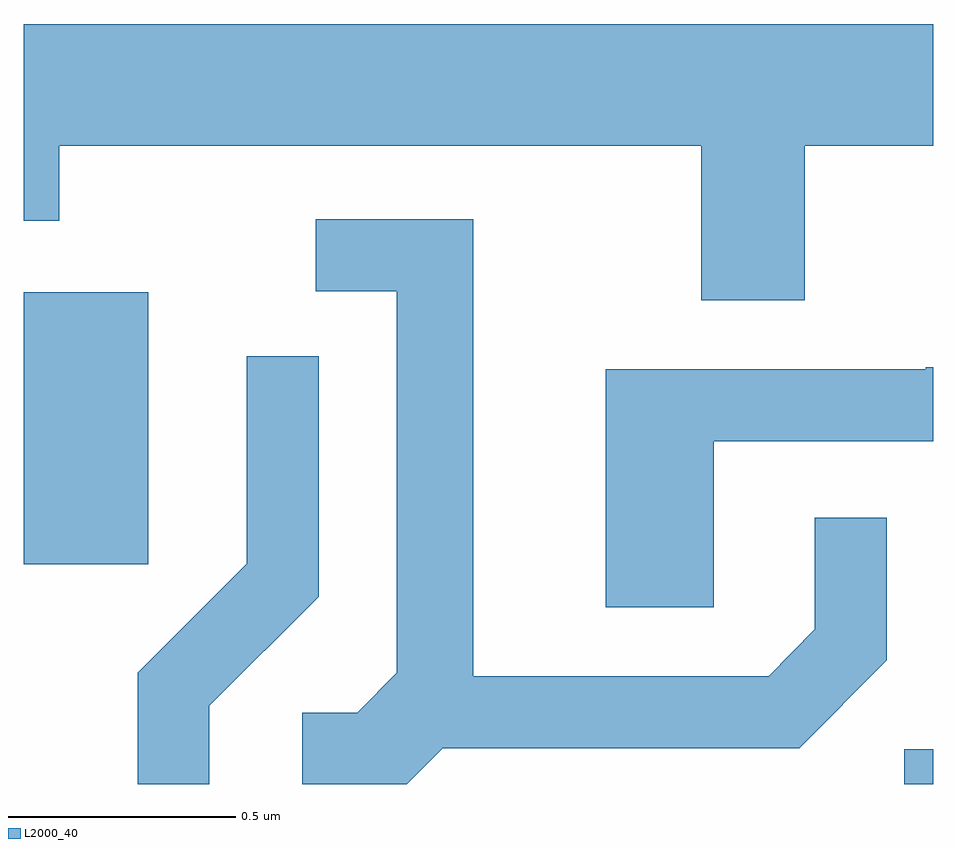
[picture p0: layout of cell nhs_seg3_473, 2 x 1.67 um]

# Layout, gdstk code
import gdstk
lib = gdstk.Library(unit=1e-6, precision=1e-09)
def R(c, l, rs):  # rectangles x0, y0, x1, y1
    for r in rs: c.add(gdstk.rectangle(r[:2], r[2:], *l))
def P(c, l, *ps):  # polygons
    for p in ps: c.add(gdstk.Polygon(p, *l))
L2000_40 = (2000, 40)

nhs_seg3_473 = lib.new_cell('nhs_seg3_473')
R(nhs_seg3_473, L2000_40, [(190.548,1177.892,190.611,1177.969), (188.611,1178.376,188.884,1178.974)])
P(nhs_seg3_473, L2000_40, [(190.329,1179.296),(190.611,1179.296),(190.611,1179.564),(188.611,1179.564),(188.611,1179.131),(188.689,1179.131),(188.689,1179.296),(190.101,1179.296),(190.101,1178.956),(190.329,1178.956)],
  [(189.532,1177.971),(190.317,1177.971),(190.509,1178.164),(190.509,1178.478),(190.351,1178.478),(190.351,1178.232),(190.249,1178.129),(189.599,1178.129),(189.599,1179.134),(189.253,1179.134),(189.253,1178.976),(189.431,1178.976),(189.431,1178.137),(189.344,1178.049),(189.223,1178.049),(189.223,1177.892),(189.453,1177.892)],
  [(189.019,1178.064),(189.259,1178.304),(189.259,1178.833),(189.101,1178.833),(189.101,1178.377),(188.861,1178.137),(188.861,1177.892),(189.019,1177.892)],
  [(190.129,1178.646),(190.611,1178.646),(190.611,1178.809),(190.595,1178.809),(190.595,1178.804),(189.891,1178.804),(189.891,1178.281),(190.129,1178.281)])

lib.write_gds('nhs_seg3_473.gds')
